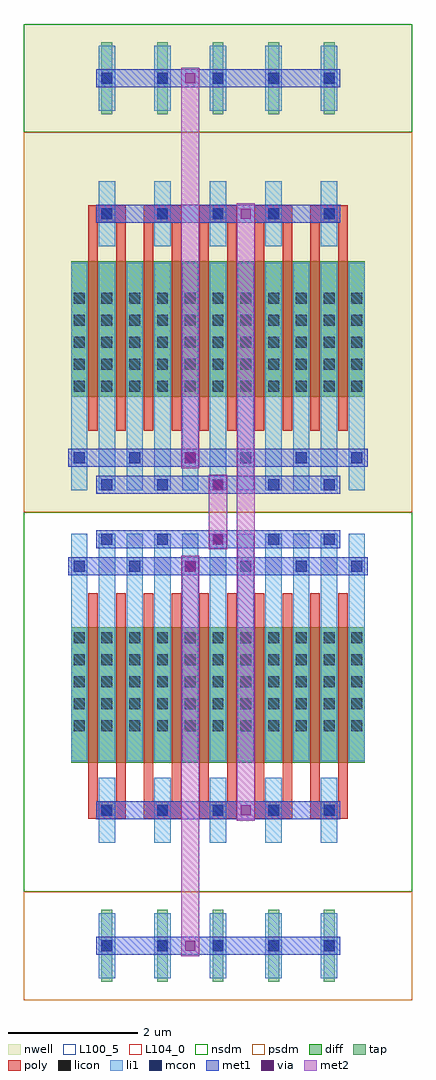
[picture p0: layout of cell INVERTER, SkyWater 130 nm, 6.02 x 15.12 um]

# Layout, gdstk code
import gdstk
lib = gdstk.Library(unit=1e-6, precision=1e-09)
def R(c, l, rs):  # rectangles x0, y0, x1, y1
    for r in rs: c.add(gdstk.rectangle(r[:2], r[2:], *l))
def A(c, l, x, y, w, h, nx, ny, dx, dy):  # array of equal rectangles
    R(c, l, [(x+i*dx, y+j*dy, x+i*dx+w, y+j*dy+h) for i in range(nx) for j in range(ny)])
nwell = (64, 20)
diff = (65, 20)
tap = (65, 44)
poly = (66, 20)
licon = (66, 44)
li1 = (67, 20)
mcon = (67, 44)
met1 = (68, 20)
via = (68, 44)
met2 = (69, 20)
nsdm = (93, 44)
psdm = (94, 20)
L100_5 = (100, 5)
L104_0 = (104, 0)

inverter = lib.new_cell('INVERTER')
R(inverter, nwell, [(0,7.56,6.02,15.12)])
R(inverter, diff, [(0.735,3.675,5.285,5.775), (0.735,9.345,5.285,11.445)])
A(inverter, tap, 1.205, 0.28, 0.17, 1.12, 5, 2, 0.86, 13.44)
A(inverter, poly, 1, 2.805, 0.58, 0.27, 5, 2, 0.86, 9.24)
A(inverter, poly, 1, 2.94, 0.15, 3.36, 10, 2, 0.43, 5.88)
A(inverter, licon, 1.205, 0.755, 0.17, 0.17, 5, 2, 0.86, 2.1)
A(inverter, licon, 0.775, 4.165, 0.17, 0.17, 3, 5, 0.43, 0.34)
A(inverter, licon, 1.635, 4.165, 0.17, 0.17, 3, 5, 0.43, 0.34)
A(inverter, licon, 2.495, 4.165, 0.17, 0.17, 3, 5, 0.43, 0.34)
A(inverter, licon, 3.355, 4.165, 0.17, 0.17, 3, 5, 0.43, 0.34)
A(inverter, licon, 4.215, 4.165, 0.17, 0.17, 3, 5, 0.43, 0.34)
A(inverter, licon, 0.775, 9.425, 0.17, 0.17, 3, 5, 0.43, 0.34)
A(inverter, licon, 1.635, 9.425, 0.17, 0.17, 3, 5, 0.43, 0.34)
A(inverter, licon, 2.495, 9.425, 0.17, 0.17, 3, 5, 0.43, 0.34)
A(inverter, licon, 3.355, 9.425, 0.17, 0.17, 3, 5, 0.43, 0.34)
A(inverter, licon, 4.215, 9.425, 0.17, 0.17, 3, 5, 0.43, 0.34)
A(inverter, licon, 1.205, 12.095, 0.17, 0.17, 5, 2, 0.86, 2.1)
A(inverter, li1, 1.165, 0.335, 0.25, 1.01, 5, 2, 0.86, 2.1)
A(inverter, li1, 0.735, 3.695, 0.25, 3.53, 11, 2, 0.43, 4.2)
A(inverter, li1, 1.165, 11.675, 0.25, 1.01, 5, 2, 0.86, 2.1)
A(inverter, mcon, 1.205, 0.755, 0.17, 0.17, 5, 2, 0.86, 2.1)
A(inverter, mcon, 0.775, 6.635, 0.17, 0.17, 6, 2, 0.86, 1.68)
A(inverter, mcon, 1.205, 7.055, 0.17, 0.17, 5, 2, 0.86, 0.84)
A(inverter, mcon, 1.205, 12.095, 0.17, 0.17, 5, 2, 0.86, 2.1)
R(inverter, met1, [(1.12,0.7,4.9,0.98), (1.12,2.8,4.9,3.08), (0.69,6.58,5.33,6.86), (1.12,7,4.9,7.28), (1.12,7.84,4.9,8.12), (0.69,8.26,5.33,8.54), (1.12,12.04,4.9,12.32), (1.12,14.14,4.9,14.42)])
R(inverter, via, [(2.505,0.765,2.655,0.915), (3.365,2.865,3.515,3.015), (2.505,6.645,2.655,6.795), (2.935,7.065,3.085,7.215), (2.935,7.905,3.085,8.055), (2.505,8.325,2.655,8.475), (3.365,12.105,3.515,12.255), (2.505,14.205,2.655,14.355)])
R(inverter, met2, [(2.44,0.68,2.72,6.88), (3.3,2.78,3.58,12.34), (2.87,6.98,3.15,8.14), (2.44,8.24,2.72,14.44)])
R(inverter, nsdm, [(0,1.68,6.02,7.56), (0,13.44,6.02,15.12)])
R(inverter, psdm, [(0,0,6.02,1.68), (0,7.56,6.02,13.44)])
R(inverter, L100_5, [(0,0,6.02,15.12)])
R(inverter, L104_0, [(0,0,6.02,15.12)])

lib.write_gds('INVERTER.gds')
